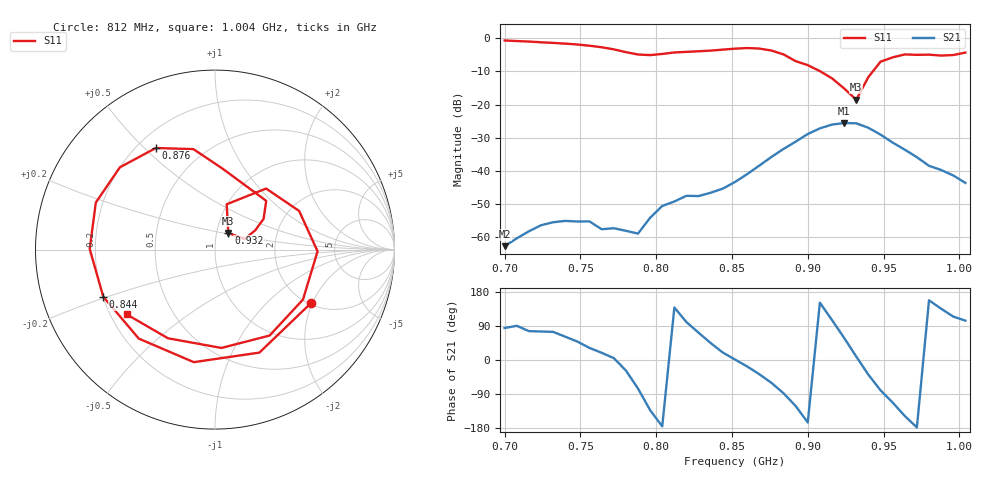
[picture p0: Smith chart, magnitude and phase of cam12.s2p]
# Hz S RI R 50
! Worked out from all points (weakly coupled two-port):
!   39 points, 700 MHz to 1.004 GHz, reference 50 ohm
!   highest |S21| = -25.56 dB at 924 MHz (marker M1); lowest = -62.7 dB at 700 MHz (marker M2)
!   lowest |S11| = -18.5 dB at 932 MHz (marker M3), VSWR 1.27, Z = 57 + j10.7 ohm
!   |S11| at or under -10 dB: 908.4 MHz to 942.9 MHz (34.5 MHz wide, 3.73 % of centre)
!   S12 and S22 are empty: the file has one direction only
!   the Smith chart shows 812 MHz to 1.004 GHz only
!   S11 on the Smith chart (normalised r, x): 812 MHz: 2.04, -1.95; 844 MHz: 0.20, -0.19; 876 MHz: 0.27, +0.54; 932 MHz: 1.14, +0.21; 1.004 GHz: 0.27, -0.31
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7e8  0.7635 0.5285  7.16e-05 0.00073  0 0  0 0
7.24e8  0.8328 -0.255  0.000388 0.00147  0 0  0 0
7.4e8  0.445 -0.7022  0.000842 0.00155  0 0  0 0
7.56e8  -0.1955 -0.7486  0.00147 0.000916  0 0  0 0
7.72e8  -0.6559 -0.1881  0.00136 0.000121  0 0  0 0
7.8e8  -0.5748 0.2289  0.00111 -0.00058  0 0  0 0
7.88e8  -0.2246 0.524  0.00029 -0.0011  0 0  0 0
7.96e8  0.254 0.4972  -0.00132 -0.00145  0 0  0 0
8.04e8  0.5624 0.1459  -0.00295 -0.000256  0 0  0 0
8.12e8  0.534 -0.2988  -0.0026 0.0023  0 0  0 0
8.28e8  -0.1183 -0.6271  0.0013 0.00397  0 0  0 0
8.44e8  -0.6224 -0.2626  0.0051 0.00181  0 0  0 0
8.52e8  -0.698 0.00356  0.00681 0.000152  0 0  0 0
8.76e8  -0.3297 0.5661  0.00806 -0.0141  0 0  0 0
9e8  0.2854 0.2717  -0.0348 -0.00943  0 0  0 0
9.08e8  0.2707 0.1712  -0.0385 0.021  0 0  0 0
9.24e8  0.1651 0.059  0.0277 0.0448  0 0  0 0
9.32e8  0.0744 0.0924  0.0516 0.0083  0 0  0 0
9.48e8  0.2847 0.3402  0.00618 -0.0348  0 0  0 0
9.56e8  0.4688 0.2153  -0.0101 -0.0248  0 0  0 0
9.8e8  0.3043 -0.4789  -0.011 0.00455  0 0  0 0
1.004e9  -0.4918 -0.3608  -0.00159 0.0064  0 0  0 0
